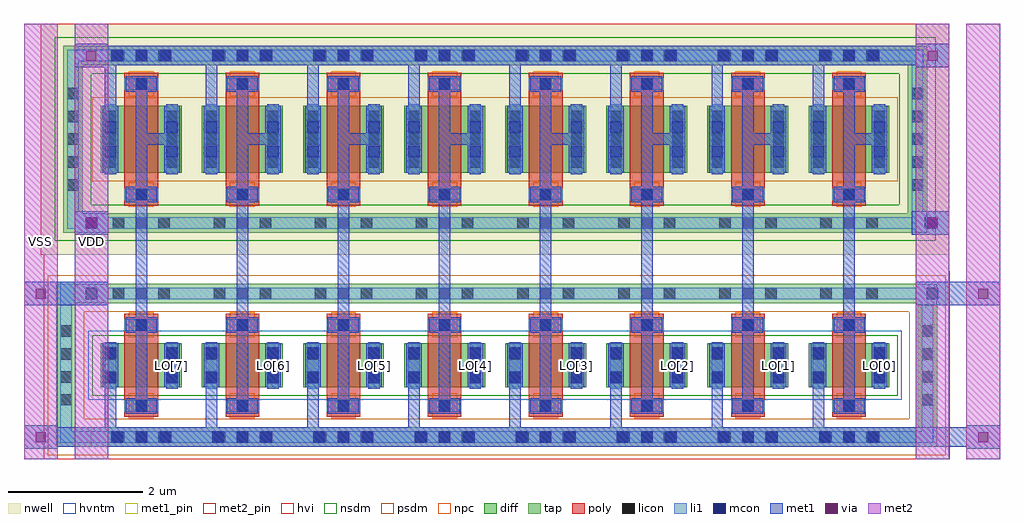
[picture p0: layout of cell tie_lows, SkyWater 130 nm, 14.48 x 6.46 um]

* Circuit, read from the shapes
.subckt tie_lows LO[0] LO[1] LO[2] LO[3] LO[4] LO[5] LO[6] LO[7] VDD VSS
XM1 LO[7] n1 VSS VSS sky130_fd_pr__nfet_g5v0d10v5 w=0.65 l=0.5
XM2 LO[6] n2 VSS VSS sky130_fd_pr__nfet_g5v0d10v5 w=0.65 l=0.5
XM3 LO[5] n3 VSS VSS sky130_fd_pr__nfet_g5v0d10v5 w=0.65 l=0.5
XM4 LO[4] n4 VSS VSS sky130_fd_pr__nfet_g5v0d10v5 w=0.65 l=0.5
XM5 LO[3] n5 VSS VSS sky130_fd_pr__nfet_g5v0d10v5 w=0.65 l=0.5
XM6 LO[2] n6 VSS VSS sky130_fd_pr__nfet_g5v0d10v5 w=0.65 l=0.5
XM7 LO[1] n7 VSS VSS sky130_fd_pr__nfet_g5v0d10v5 w=0.65 l=0.5
XM8 LO[0] n8 VSS VSS sky130_fd_pr__nfet_g5v0d10v5 w=0.65 l=0.5
XM9 n1 n1 VDD VDD sky130_fd_pr__pfet_g5v0d10v5 w=1 l=0.5
XM10 n2 n2 VDD VDD sky130_fd_pr__pfet_g5v0d10v5 w=1 l=0.5
XM11 n3 n3 VDD VDD sky130_fd_pr__pfet_g5v0d10v5 w=1 l=0.5
XM12 n4 n4 VDD VDD sky130_fd_pr__pfet_g5v0d10v5 w=1 l=0.5
XM13 n5 n5 VDD VDD sky130_fd_pr__pfet_g5v0d10v5 w=1 l=0.5
XM14 n6 n6 VDD VDD sky130_fd_pr__pfet_g5v0d10v5 w=1 l=0.5
XM15 n7 n7 VDD VDD sky130_fd_pr__pfet_g5v0d10v5 w=1 l=0.5
XM16 n8 n8 VDD VDD sky130_fd_pr__pfet_g5v0d10v5 w=1 l=0.5
.ends

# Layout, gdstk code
import gdstk
lib = gdstk.Library(unit=1e-6, precision=1e-09)
def R(c, l, rs):  # rectangles x0, y0, x1, y1
    for r in rs: c.add(gdstk.rectangle(r[:2], r[2:], *l))
def A(c, l, x, y, w, h, nx, ny, dx, dy):  # array of equal rectangles
    R(c, l, [(x+i*dx, y+j*dy, x+i*dx+w, y+j*dy+h) for i in range(nx) for j in range(ny)])
nwell = (64, 20)
diff = (65, 20)
tap = (65, 44)
poly = (66, 20)
licon = (66, 44)
li1 = (67, 20)
mcon = (67, 44)
met1_pin = (68, 16)
met1 = (68, 20)
via = (68, 44)
met2_pin = (69, 16)
met2 = (69, 20)
hvi = (75, 20)
nsdm = (93, 44)
psdm = (94, 20)
npc = (95, 20)
hvntm = (125, 20)

transistor_pair_bus_8 = lib.new_cell('transistor_pair_bus_8')
R(transistor_pair_bus_8, nwell, [(-0.3,3.03,13.18,6.46)])
A(transistor_pair_bus_8, diff, 0.59, 1.065, 1.2, 0.65, 8, 1, 1.5, 0)
A(transistor_pair_bus_8, diff, 0.59, 4.245, 1.2, 1, 8, 1, 1.5, 0)
R(transistor_pair_bus_8, tap, [(-0.07,0.18,13,0.47), (-0.07,0.47,0.22,2.31), (12.71,0.47,13,2.31), (-0.07,2.31,13,2.6), (0.03,3.36,12.85,3.65), (0.03,3.65,0.32,5.84), (12.56,3.65,12.85,5.84), (0.03,5.84,12.85,6.13)])
A(transistor_pair_bus_8, poly, 0.94, 0.625, 0.5, 1.53, 8, 1, 1.5, 0)
A(transistor_pair_bus_8, poly, 0.94, 3.76, 0.5, 1.97, 8, 1, 1.5, 0)
A(transistor_pair_bus_8, licon, 0.765, 0.24, 0.17, 0.17, 3, 2, 0.34, 2.13)
A(transistor_pair_bus_8, licon, 2.265, 0.24, 0.17, 0.17, 3, 2, 0.34, 2.13)
A(transistor_pair_bus_8, licon, 3.765, 0.24, 0.17, 0.17, 3, 2, 0.34, 2.13)
A(transistor_pair_bus_8, licon, 5.265, 0.24, 0.17, 0.17, 3, 2, 0.34, 2.13)
A(transistor_pair_bus_8, licon, 6.765, 0.24, 0.17, 0.17, 3, 2, 0.34, 2.13)
A(transistor_pair_bus_8, licon, 8.265, 0.24, 0.17, 0.17, 3, 2, 0.34, 2.13)
A(transistor_pair_bus_8, licon, 9.765, 0.24, 0.17, 0.17, 3, 2, 0.34, 2.13)
A(transistor_pair_bus_8, licon, 11.265, 0.24, 0.17, 0.17, 3, 2, 0.34, 2.13)
A(transistor_pair_bus_8, licon, 1.105, 0.705, 0.17, 0.17, 8, 2, 1.5, 1.2)
A(transistor_pair_bus_8, licon, -0.01, 0.795, 0.17, 0.17, 1, 4, 0, 0.34)
A(transistor_pair_bus_8, licon, 12.77, 0.795, 0.17, 0.17, 1, 4, 0, 0.34)
A(transistor_pair_bus_8, licon, 0.765, 3.42, 0.17, 0.17, 3, 2, 0.34, 2.48)
A(transistor_pair_bus_8, licon, 2.265, 3.42, 0.17, 0.17, 3, 2, 0.34, 2.48)
A(transistor_pair_bus_8, licon, 3.765, 3.42, 0.17, 0.17, 3, 2, 0.34, 2.48)
A(transistor_pair_bus_8, licon, 5.265, 3.42, 0.17, 0.17, 3, 2, 0.34, 2.48)
A(transistor_pair_bus_8, licon, 6.765, 3.42, 0.17, 0.17, 3, 2, 0.34, 2.48)
A(transistor_pair_bus_8, licon, 8.265, 3.42, 0.17, 0.17, 3, 2, 0.34, 2.48)
A(transistor_pair_bus_8, licon, 9.765, 3.42, 0.17, 0.17, 3, 2, 0.34, 2.48)
A(transistor_pair_bus_8, licon, 11.265, 3.42, 0.17, 0.17, 3, 2, 0.34, 2.48)
A(transistor_pair_bus_8, licon, 1.105, 3.84, 0.17, 0.17, 8, 2, 1.5, 1.64)
A(transistor_pair_bus_8, licon, 0.09, 3.98, 0.17, 0.17, 1, 5, 0, 0.34)
A(transistor_pair_bus_8, licon, 12.62, 3.98, 0.17, 0.17, 1, 5, 0, 0.34)
A(transistor_pair_bus_8, licon, 0.65, 4.32, 0.17, 0.17, 1, 3, 0, 0.34)
A(transistor_pair_bus_8, licon, 1.56, 4.32, 0.17, 0.17, 1, 3, 0, 0.34)
A(transistor_pair_bus_8, licon, 2.15, 4.32, 0.17, 0.17, 1, 3, 0, 0.34)
A(transistor_pair_bus_8, licon, 3.06, 4.32, 0.17, 0.17, 1, 3, 0, 0.34)
A(transistor_pair_bus_8, licon, 3.65, 4.32, 0.17, 0.17, 1, 3, 0, 0.34)
A(transistor_pair_bus_8, licon, 4.56, 4.32, 0.17, 0.17, 1, 3, 0, 0.34)
A(transistor_pair_bus_8, licon, 5.15, 4.32, 0.17, 0.17, 1, 3, 0, 0.34)
A(transistor_pair_bus_8, licon, 6.06, 4.32, 0.17, 0.17, 1, 3, 0, 0.34)
A(transistor_pair_bus_8, licon, 6.65, 4.32, 0.17, 0.17, 1, 3, 0, 0.34)
A(transistor_pair_bus_8, licon, 7.56, 4.32, 0.17, 0.17, 1, 3, 0, 0.34)
A(transistor_pair_bus_8, licon, 8.15, 4.32, 0.17, 0.17, 1, 3, 0, 0.34)
A(transistor_pair_bus_8, licon, 9.06, 4.32, 0.17, 0.17, 1, 3, 0, 0.34)
A(transistor_pair_bus_8, licon, 9.65, 4.32, 0.17, 0.17, 1, 3, 0, 0.34)
A(transistor_pair_bus_8, licon, 10.56, 4.32, 0.17, 0.17, 1, 3, 0, 0.34)
A(transistor_pair_bus_8, licon, 11.15, 4.32, 0.17, 0.17, 1, 3, 0, 0.34)
A(transistor_pair_bus_8, licon, 12.06, 4.32, 0.17, 0.17, 1, 3, 0, 0.34)
R(transistor_pair_bus_8, licon, [(0.65,1.135,0.82,1.305), (1.56,1.135,1.73,1.305), (2.15,1.135,2.32,1.305), (3.06,1.135,3.23,1.305), (3.65,1.135,3.82,1.305), (4.56,1.135,4.73,1.305), (5.15,1.135,5.32,1.305), (6.06,1.135,6.23,1.305), (6.65,1.135,6.82,1.305), (7.56,1.135,7.73,1.305), (8.15,1.135,8.32,1.305), (9.06,1.135,9.23,1.305), (9.65,1.135,9.82,1.305), (10.56,1.135,10.73,1.305), (11.15,1.135,11.32,1.305), (12.06,1.135,12.23,1.305), (0.65,1.475,0.82,1.645), (1.56,1.475,1.73,1.645), (2.15,1.475,2.32,1.645), (3.06,1.475,3.23,1.645), (3.65,1.475,3.82,1.645), (4.56,1.475,4.73,1.645), (5.15,1.475,5.32,1.645), (6.06,1.475,6.23,1.645), (6.65,1.475,6.82,1.645), (7.56,1.475,7.73,1.645), (8.15,1.475,8.32,1.645), (9.06,1.475,9.23,1.645), (9.65,1.475,9.82,1.645), (10.56,1.475,10.73,1.645), (11.15,1.475,11.32,1.645), (12.06,1.475,12.23,1.645)])
A(transistor_pair_bus_8, li1, 0.94, 0.705, 0.5, 0.17, 8, 2, 1.5, 1.2)
A(transistor_pair_bus_8, li1, 0.94, 3.84, 0.5, 0.17, 8, 2, 1.5, 1.64)
R(transistor_pair_bus_8, li1, [(-0.01,0.24,12.94,0.41), (-0.01,0.41,0.16,2.37), (12.77,0.41,12.94,2.37), (0.65,1.045,0.82,1.735), (1.56,1.045,1.73,1.735), (2.15,1.045,2.32,1.735), (3.06,1.045,3.23,1.735), (3.65,1.045,3.82,1.735), (4.56,1.045,4.73,1.735), (5.15,1.045,5.32,1.735), (6.06,1.045,6.23,1.735), (6.65,1.045,6.82,1.735), (7.56,1.045,7.73,1.735), (8.15,1.045,8.32,1.735), (9.06,1.045,9.23,1.735), (9.65,1.045,9.82,1.735), (10.56,1.045,10.73,1.735), (11.15,1.045,11.32,1.735), (12.06,1.045,12.23,1.735), (-0.01,2.37,12.94,2.54), (0.09,3.42,12.79,3.59), (0.09,3.59,0.26,5.9), (12.62,3.59,12.79,5.9), (0.65,4.225,0.82,5.265), (1.56,4.225,1.73,5.265), (2.15,4.225,2.32,5.265), (3.06,4.225,3.23,5.265), (3.65,4.225,3.82,5.265), (4.56,4.225,4.73,5.265), (5.15,4.225,5.32,5.265), (6.06,4.225,6.23,5.265), (6.65,4.225,6.82,5.265), (7.56,4.225,7.73,5.265), (8.15,4.225,8.32,5.265), (9.06,4.225,9.23,5.265), (9.65,4.225,9.82,5.265), (10.56,4.225,10.73,5.265), (11.15,4.225,11.32,5.265), (12.06,4.225,12.23,5.265), (0.09,5.9,12.79,6.07)])
A(transistor_pair_bus_8, mcon, 0.745, 0.24, 0.17, 0.17, 3, 2, 0.36, 5.66)
A(transistor_pair_bus_8, mcon, 2.245, 0.24, 0.17, 0.17, 3, 2, 0.36, 5.66)
A(transistor_pair_bus_8, mcon, 3.745, 0.24, 0.17, 0.17, 3, 2, 0.36, 5.66)
A(transistor_pair_bus_8, mcon, 5.245, 0.24, 0.17, 0.17, 3, 2, 0.36, 5.66)
A(transistor_pair_bus_8, mcon, 6.745, 0.24, 0.17, 0.17, 3, 2, 0.36, 5.66)
A(transistor_pair_bus_8, mcon, 8.245, 0.24, 0.17, 0.17, 3, 2, 0.36, 5.66)
A(transistor_pair_bus_8, mcon, 9.745, 0.24, 0.17, 0.17, 3, 2, 0.36, 5.66)
A(transistor_pair_bus_8, mcon, 11.245, 0.24, 0.17, 0.17, 3, 2, 0.36, 5.66)
A(transistor_pair_bus_8, mcon, 1.105, 0.705, 0.17, 0.17, 8, 2, 1.5, 1.2)
A(transistor_pair_bus_8, mcon, 1.105, 3.84, 0.17, 0.17, 8, 2, 1.5, 1.64)
R(transistor_pair_bus_8, mcon, [(0.65,1.125,0.82,1.295), (1.56,1.125,1.73,1.295), (2.15,1.125,2.32,1.295), (3.06,1.125,3.23,1.295), (3.65,1.125,3.82,1.295), (4.56,1.125,4.73,1.295), (5.15,1.125,5.32,1.295), (6.06,1.125,6.23,1.295), (6.65,1.125,6.82,1.295), (7.56,1.125,7.73,1.295), (8.15,1.125,8.32,1.295), (9.06,1.125,9.23,1.295), (9.65,1.125,9.82,1.295), (10.56,1.125,10.73,1.295), (11.15,1.125,11.32,1.295), (12.06,1.125,12.23,1.295), (0.65,1.485,0.82,1.655), (1.56,1.485,1.73,1.655), (2.15,1.485,2.32,1.655), (3.06,1.485,3.23,1.655), (3.65,1.485,3.82,1.655), (4.56,1.485,4.73,1.655), (5.15,1.485,5.32,1.655), (6.06,1.485,6.23,1.655), (6.65,1.485,6.82,1.655), (7.56,1.485,7.73,1.655), (8.15,1.485,8.32,1.655), (9.06,1.485,9.23,1.655), (9.65,1.485,9.82,1.655), (10.56,1.485,10.73,1.655), (11.15,1.485,11.32,1.655), (12.06,1.485,12.23,1.655), (0.65,4.48,0.82,4.65), (1.56,4.48,1.73,4.65), (2.15,4.48,2.32,4.65), (3.06,4.48,3.23,4.65), (3.65,4.48,3.82,4.65), (4.56,4.48,4.73,4.65), (5.15,4.48,5.32,4.65), (6.06,4.48,6.23,4.65), (6.65,4.48,6.82,4.65), (7.56,4.48,7.73,4.65), (8.15,4.48,8.32,4.65), (9.06,4.48,9.23,4.65), (9.65,4.48,9.82,4.65), (10.56,4.48,10.73,4.65), (11.15,4.48,11.32,4.65), (12.06,4.48,12.23,4.65), (0.65,4.84,0.82,5.01), (1.56,4.84,1.73,5.01), (2.15,4.84,2.32,5.01), (3.06,4.84,3.23,5.01), (3.65,4.84,3.82,5.01), (4.56,4.84,4.73,5.01), (5.15,4.84,5.32,5.01), (6.06,4.84,6.23,5.01), (6.65,4.84,6.82,5.01), (7.56,4.84,7.73,5.01), (8.15,4.84,8.32,5.01), (9.06,4.84,9.23,5.01), (9.65,4.84,9.82,5.01), (10.56,4.84,10.73,5.01), (11.15,4.84,11.32,5.01), (12.06,4.84,12.23,5.01)])
R(transistor_pair_bus_8, met1_pin, [(0.44,0.18,12.44,0.47), (0.44,5.84,12.44,6.13)])
A(transistor_pair_bus_8, met1, 0.96, 0.675, 0.46, 0.23, 8, 2, 1.5, 1.2)
A(transistor_pair_bus_8, met1, 1.105, 0.905, 0.17, 0.97, 8, 1, 1.5, 0)
A(transistor_pair_bus_8, met1, 0.96, 3.81, 0.46, 0.23, 8, 2, 1.5, 1.64)
A(transistor_pair_bus_8, met1, 1.105, 4.04, 0.17, 1.41, 8, 1, 1.5, 0)
R(transistor_pair_bus_8, met1, [(0.44,0.18,12.44,0.47), (0.65,1.045,0.82,1.065), (1.56,1.045,1.73,1.065), (2.15,1.045,2.32,1.065), (3.06,1.045,3.23,1.065), (3.65,1.045,3.82,1.065), (4.56,1.045,4.73,1.065), (5.15,1.045,5.32,1.065), (6.06,1.045,6.23,1.065), (6.65,1.045,6.82,1.065), (7.56,1.045,7.73,1.065), (8.15,1.045,8.32,1.065), (9.06,1.045,9.23,1.065), (9.65,1.045,9.82,1.065), (10.56,1.045,10.73,1.065), (11.15,1.045,11.32,1.065), (12.06,1.045,12.23,1.065), (0.62,1.065,0.85,1.715), (1.53,1.065,1.76,1.715), (2.12,1.065,2.35,1.715), (3.03,1.065,3.26,1.715), (3.62,1.065,3.85,1.715), (4.53,1.065,4.76,1.715), (5.12,1.065,5.35,1.715), (6.03,1.065,6.26,1.715), (6.62,1.065,6.85,1.715), (7.53,1.065,7.76,1.715), (8.12,1.065,8.35,1.715), (9.03,1.065,9.26,1.715), (9.62,1.065,9.85,1.715), (10.53,1.065,10.76,1.715), (11.12,1.065,11.35,1.715), (12.03,1.065,12.26,1.715), (0.65,1.715,0.82,1.735), (1.56,1.715,1.73,1.735), (2.15,1.715,2.32,1.735), (3.06,1.715,3.23,1.735), (3.65,1.715,3.82,1.735), (4.56,1.715,4.73,1.735), (5.15,1.715,5.32,1.735), (6.06,1.715,6.23,1.735), (6.65,1.715,6.82,1.735), (7.56,1.715,7.73,1.735), (8.15,1.715,8.32,1.735), (9.06,1.715,9.23,1.735), (9.65,1.715,9.82,1.735), (10.56,1.715,10.73,1.735), (11.15,1.715,11.32,1.735), (12.06,1.715,12.23,1.735), (0.65,4.225,0.82,4.245), (1.56,4.225,1.73,4.245), (2.15,4.225,2.32,4.245), (3.06,4.225,3.23,4.245), (3.65,4.225,3.82,4.245), (4.56,4.225,4.73,4.245), (5.15,4.225,5.32,4.245), (6.06,4.225,6.23,4.245), (6.65,4.225,6.82,4.245), (7.56,4.225,7.73,4.245), (8.15,4.225,8.32,4.245), (9.06,4.225,9.23,4.245), (9.65,4.225,9.82,4.245), (10.56,4.225,10.73,4.245), (11.15,4.225,11.32,4.245), (12.06,4.225,12.23,4.245), (0.62,4.245,0.85,5.245), (1.53,4.245,1.76,5.245), (2.12,4.245,2.35,5.245), (3.03,4.245,3.26,5.245), (3.62,4.245,3.85,5.245), (4.53,4.245,4.76,5.245), (5.12,4.245,5.35,5.245), (6.03,4.245,6.26,5.245), (6.62,4.245,6.85,5.245), (7.53,4.245,7.76,5.245), (8.12,4.245,8.35,5.245), (9.03,4.245,9.26,5.245), (9.62,4.245,9.85,5.245), (10.53,4.245,10.76,5.245), (11.12,4.245,11.35,5.245), (12.03,4.245,12.26,5.245), (0.65,5.245,0.82,5.265), (1.56,5.245,1.73,5.265), (2.15,5.245,2.32,5.265), (3.06,5.245,3.23,5.265), (3.65,5.245,3.82,5.265), (4.56,5.245,4.73,5.265), (5.15,5.245,5.32,5.265), (6.06,5.245,6.23,5.265), (6.65,5.245,6.82,5.265), (7.56,5.245,7.73,5.265), (8.15,5.245,8.32,5.265), (9.06,5.245,9.23,5.265), (9.65,5.245,9.82,5.265), (10.56,5.245,10.73,5.265), (11.15,5.245,11.32,5.265), (12.06,5.245,12.23,5.265), (0.44,5.84,12.44,6.13)])
R(transistor_pair_bus_8, hvi, [(-0.255,-0.005,13.185,2.785), (-0.255,2.785,13.18,3.03), (-0.3,3.03,13.18,6.46)])
R(transistor_pair_bus_8, nsdm, [(0.465,0.94,12.415,1.84), (-0.095,3.235,12.975,3.775), (-0.095,3.775,0.445,5.715), (12.435,3.775,12.975,5.715), (-0.095,5.715,12.975,6.255)])
R(transistor_pair_bus_8, psdm, [(-0.195,0.055,13.125,0.595), (-0.195,0.595,0.345,2.185), (12.585,0.595,13.125,2.185), (-0.195,2.185,13.125,2.725), (0.465,4.12,12.415,5.37)])
A(transistor_pair_bus_8, npc, 1.005, 0.605, 0.37, 0.37, 8, 2, 1.5, 1.2)
A(transistor_pair_bus_8, npc, 1.005, 3.74, 0.37, 0.37, 8, 2, 1.5, 1.64)
R(transistor_pair_bus_8, hvntm, [(0.405,0.88,12.475,1.9)])
transistor_pair_bus_8.add(gdstk.Label('VDD', (6.44,5.985), layer=68, texttype=5))
transistor_pair_bus_8.add(gdstk.Label('VSS', (6.44,0.325), layer=68, texttype=5))

tie_low_raw = lib.new_cell('tie_low_raw')
R(tie_low_raw, met1_pin, [(0.44,0.18,1.94,0.47), (1.56,1.045,1.73,1.735), (0.44,5.84,1.94,6.13)])
R(tie_low_raw, met1, [(0.44,0.18,1.94,0.47), (0.65,0.47,0.82,1.735), (1.105,0.705,1.275,4.66), (1.56,1.045,1.73,1.735), (0.65,4.225,0.82,5.84), (1.56,4.225,1.73,4.66), (1.105,4.66,1.73,4.83), (1.105,4.83,1.275,5.65), (1.56,4.83,1.73,5.265), (0.44,5.84,1.94,6.13)])
tie_low_raw.add(gdstk.Label('LO', (1.645,1.39), layer=68, texttype=5))
tie_low_raw.add(gdstk.Label('VDD', (1.19,5.985), layer=68, texttype=5))
tie_low_raw.add(gdstk.Label('VSS', (1.19,0.325), layer=68, texttype=5))

tie_lows = lib.new_cell('tie_lows')
R(tie_lows, li1, [(-0.01,2.28,0.7,2.63), (12.68,2.28,13.18,2.63), (0.2,3.33,0.7,3.68), (12.62,3.33,13.18,3.68)])
R(tie_lows, mcon, [(0.365,2.37,0.535,2.54), (12.845,2.37,13.015,2.54), (0.365,3.42,0.535,3.59), (12.815,3.42,12.985,3.59)])
A(tie_lows, met1_pin, 1.56, 1.045, 0.17, 0.69, 8, 1, 1.5, 0)
A(tie_lows, met1, 1.56, 1.045, 0.17, 0.69, 8, 1, 1.5, 0)
R(tie_lows, met1, [(-0.55,0.15,-0.05,0.18), (13.43,0.15,13.93,0.18), (-0.55,0.18,13.93,0.47), (-0.55,0.47,-0.05,0.5), (13.43,0.47,13.93,0.5), (-0.55,2.28,0.7,2.63), (12.68,2.28,13.93,2.63), (0.2,3.33,0.7,3.68), (12.62,3.33,13.18,3.68), (0.2,5.81,0.7,5.84), (12.68,5.81,13.18,5.84), (0.2,5.84,13.18,6.13), (0.2,6.13,0.7,6.16), (12.68,6.13,13.18,6.16)])
R(tie_lows, via, [(-0.375,0.25,-0.225,0.4), (13.605,0.25,13.755,0.4), (-0.375,2.38,-0.225,2.53), (13.605,2.38,13.755,2.53), (0.375,3.43,0.525,3.58), (12.855,3.43,13.005,3.58), (0.375,5.91,0.525,6.06), (12.855,5.91,13.005,6.06)])
R(tie_lows, met2_pin, [(-0.55,0,-0.05,6.46), (0.2,0,0.7,6.46)])
R(tie_lows, met2, [(-0.55,0,-0.05,6.46), (0.2,0,0.7,6.46), (12.68,0,13.18,6.46), (13.43,0,13.93,6.46)])
tie_lows.add(gdstk.Reference(transistor_pair_bus_8, (0,0)))
r = gdstk.Reference(tie_low_raw, (0,0)); r.repetition = gdstk.Repetition(8, 1, v1=(1.5,0), v2=(0,6.46)); tie_lows.add(r)
tie_lows.add(gdstk.Label('VSS', (-0.3,3.23), layer=69, texttype=5))
tie_lows.add(gdstk.Label('VDD', (0.45,3.23), layer=69, texttype=5))
tie_lows.add(gdstk.Label('LO[0]', (12.145,1.39), layer=68, texttype=5))
tie_lows.add(gdstk.Label('LO[1]', (10.645,1.39), layer=68, texttype=5))
tie_lows.add(gdstk.Label('LO[2]', (9.145,1.39), layer=68, texttype=5))
tie_lows.add(gdstk.Label('LO[3]', (7.645,1.39), layer=68, texttype=5))
tie_lows.add(gdstk.Label('LO[4]', (6.145,1.39), layer=68, texttype=5))
tie_lows.add(gdstk.Label('LO[5]', (4.645,1.39), layer=68, texttype=5))
tie_lows.add(gdstk.Label('LO[6]', (3.145,1.39), layer=68, texttype=5))
tie_lows.add(gdstk.Label('LO[7]', (1.645,1.39), layer=68, texttype=5))

lib.write_gds('tie_lows.gds')
